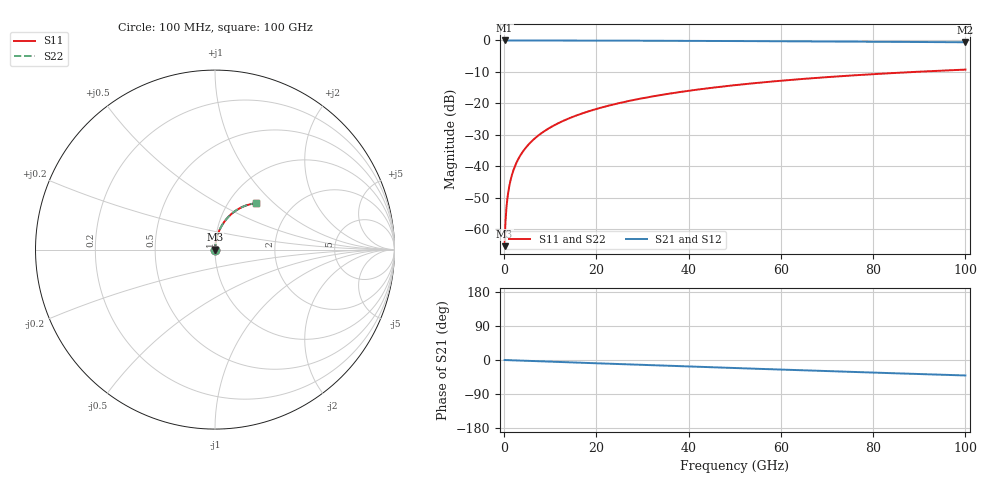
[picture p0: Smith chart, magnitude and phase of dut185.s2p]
! Touchstone file exported from HFSS 2026.1.0
!  File:  C:/ffzhzh/LocalFiles/Ansys_Project_Files/temp_train_TSV_185_1783507199_44152.aedt
!  Generated:  06:41:14 PM Jul  8, 2026
!  Design:  TSV
!  Project:  temp_train_TSV_185_1783507199_44152
! Variables:
!  h_bsmrdl = 2um
!  h_ox = 20um
!  h_rdl = 5um
!  h_sub = 66.02um
!  h_tmrdl = 5um
!  h_tsv = 66.02um
!  h_via = 3um
!  l_bsmrdl = 300um
!  l_sub = 410.72um
!  l_tmrdl = 200um
!  m_sub = 200um
!  pitch = 52.84um
!  r_tsv = 5.36um
!  s_tmrdl = 10um
!  w_bsmrdl = 18um
!  w_sub = 500um
!  w_tmrdl = 12um
!  x_tsv_center1 = 206um
!  x_tsv_center2 = 524um
!  x_tsv_center3 = 736um
!  x_tsv_center4 = 1054um
!  x_tsv_center5 = 1266um
!  x_tsv_center6 = 1584um
# GHz S MA R 50.000000
! Terminal data exported
! Port[1] = TSV1_1_T1
! Port[2] = TSV1_1_T2
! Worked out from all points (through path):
!   1000 points, 100 MHz to 100 GHz, reference 50 ohm
!   highest |S21| = 0.00 dB at 100 MHz (marker M1); lowest = -0.6 dB at 100 GHz (marker M2)
!   group delay of S21, straight-line fit = 1.14 ps
!   lowest |S11| = -65.4 dB at 100 MHz (marker M3), VSWR 1.00, Z = 50 + j0.0445 ohm
!   |S11| at or under -10 dB: start of sweep to 89.16 GHz
!   |S22| runs from -65.4 to -9.3 dB; largest |S21 - S12| = 2.2e-15
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0.1  0.0005343 56.4  0.9997 -0.0  0.9997 -0.0  0.0005343 56.4
! Gamma 0 0 0 0
! Port Impedance 50 0 50 0
0.4  0.001767 79.3  0.9997 -0.2  0.9997 -0.2  0.001767 79.3
0.7  0.003041 83.2  0.9996 -0.3  0.9996 -0.3  0.003041 83.2
0.8  0.003468 83.8  0.9996 -0.4  0.9996 -0.4  0.003468 83.8
1  0.00432 84.6  0.9996 -0.4  0.9996 -0.4  0.00432 84.6
1.3  0.005596 85.3  0.9996 -0.6  0.9996 -0.6  0.005596 85.3
1.7  0.00729 85.7  0.9995 -0.8  0.9995 -0.8  0.00729 85.7
2.3  0.00981 85.9  0.9994 -1.0  0.9994 -1.0  0.00981 85.9
3  0.01272 85.9  0.9993 -1.3  0.9993 -1.3  0.01272 85.9
3.8  0.01602 85.8  0.9992 -1.7  0.9992 -1.7  0.01602 85.8
4.8  0.02012 85.6  0.999 -2.1  0.999 -2.1  0.02012 85.6
6  0.02502 85.3  0.9988 -2.6  0.9988 -2.6  0.02502 85.3
8.8  0.0364 84.4  0.9982 -3.8  0.9982 -3.8  0.0364 84.4
12.4  0.05095 83.1  0.9974 -5.4  0.9974 -5.4  0.05095 83.1
16.8  0.06859 81.4  0.9961 -7.3  0.9961 -7.3  0.06859 81.4
24.2  0.09786 78.5  0.9933 -10.4  0.9933 -10.4  0.09786 78.5
33.4  0.1334 74.8  0.9889 -14.3  0.9889 -14.3  0.1334 74.8
41.2  0.1626 71.6  0.9843 -17.6  0.9843 -17.6  0.1626 71.6
50.1  0.1947 68.0  0.9783 -21.2  0.9783 -21.2  0.1947 68.0
66.7  0.2505 61.4  0.9652 -28.0  0.9652 -28.0  0.2505 61.4
83.4  0.3005 54.9  0.9506 -34.5  0.9506 -34.5  0.3005 54.9
100  0.3435 48.7  0.9357 -40.8  0.9357 -40.8  0.3435 48.7
